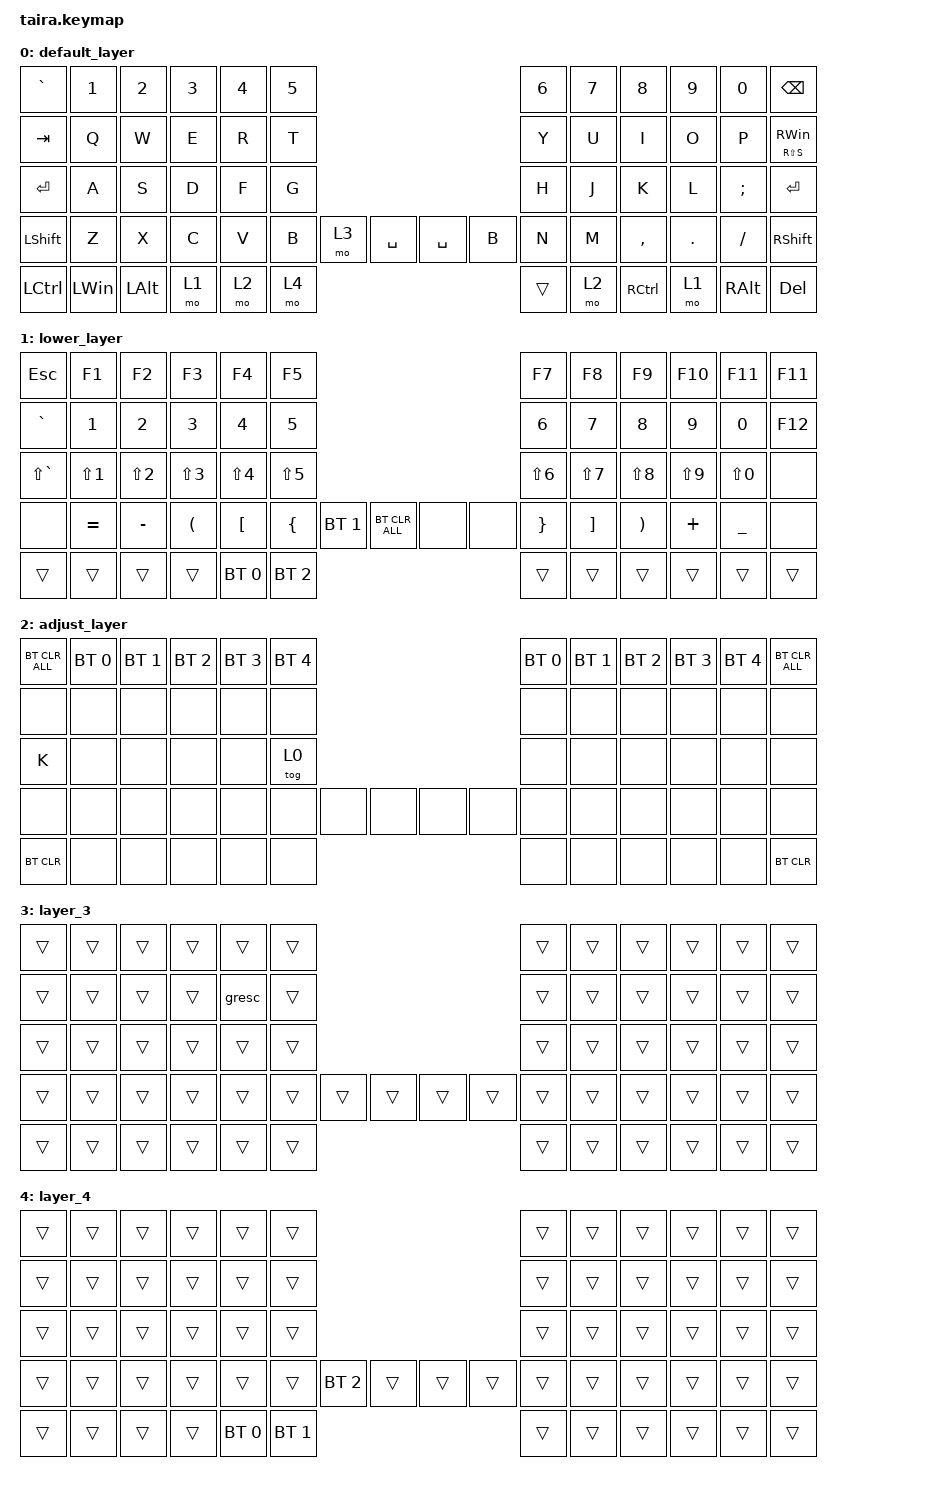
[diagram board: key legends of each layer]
/*
 * Copyright (c) 2020 The ZMK Contributors
 *
 * SPDX-License-Identifier: MIT
 */

#include <behaviors.dtsi>
#include <dt-bindings/zmk/bt.h>
#include <dt-bindings/zmk/keys.h>

#define DEFAULT 0
#define LOWER   1
#define RAISE   2
#define ADJUST  3
#define HYPER   4
#define GAME    5

/ {
    conditional_layers {
        compatible = "zmk,conditional-layers";

        tri_layer {
            if-layers = <1 2>;
            then-layer = <2>;
        };
    };

    keymap {
        compatible = "zmk,keymap";

        default_layer {
            /* QWERTY
 * .----------------------------------------------------------------------------------------------------------------------------------.
 * |  `   |   1  |   2  |   3  |   4  |   5  |                                              |   6  |   7  |   8  |   9  |   0  | PScr |
 * |-------------+------+------+------+------+------+------+-------+-+-------+-------+------+------+------+------+------+------+------|
 * | ESC  |   Q  |   W  |   E  |   R  |   T  |                                              |   Y  |   U  |   I  |   O  |   P  |  \   |
 * |-------------+------+------+------+------+------+------+-------+-+-------+-------+------+------+------+------+------+------+------|
 * | Tab  |   A  |   S  |   D  |   F  |   G  |                                              |   H  |   J  |   K  |   L  |   ;  |  '   |
 * |-------------+------+------+------+------+------+------+-------+-+-------+-------+------+------+------+------+------+------+------|
 * | Shift|   Z  |   X  |   C  |   V  |   B  |      | Del  | PGDN  | | PGUP  | Home  |      |   N  |   M  |   ,  |   .  |   /  | Shift|
 * |-------------+------+------+------+------+------+------+-------+-+-------+-------+------+------+------+------+------+------+------|
 * | Ctrl | Alt  | Meta | Alt  |             | Meta | Space|        | Enter | RAlt |             | LEFT | DOWN | UP   | RIGHT|
 * .----------------------------------------------------------------------------------------------------------------------------------.
 */

            bindings = <
&kp GRAVE  &kp N1        &kp N2    &kp N3  &kp N4  &kp N5                                                     &kp N6  &kp N7  &kp N8     &kp N9   &kp N0     &kp BACKSPACE
&kp TAB    &kp Q         &kp W     &kp E   &kp R   &kp T                                                      &kp Y   &kp U   &kp I      &kp O    &kp P      &mt RS(S) RIGHT_WIN
&kp ENTER  &kp A         &kp S     &kp D   &kp F   &kp G                                                      &kp H   &kp J   &kp K      &kp L    &kp SEMI   &kp ENTER
&kp LSHFT  &kp Z         &kp X     &kp C   &kp V   &kp B          &mo 3  &kp SPACE  &kp SPACE  &kp B          &kp N   &kp M   &kp COMMA  &kp DOT  &kp SLASH  &kp RIGHT_SHIFT
&kp LCTRL  &kp LEFT_WIN  &kp LALT  &mo 1                   &mo 2  &mo 4                        &trans  &mo 2                  &kp RCTRL  &mo 1    &kp RALT   &kp DELETE
            >;
        };

        lower_layer {
            /* QWERTY
 * .----------------------------------------------------------------------------------------------------------------------------------.
 * |  `   |   1  |   2  |   3  |   4  |   5  |                                              |   6  |   7  |   8  |   9  |   0  | PScr |
 * |-------------+------+------+------+------+------+------+-------+-+-------+-------+------+------+------+------+------+------+------|
 * | ESC  |   Q  |   W  |   E  |   R  |   T  |                                              |   Y  |   U  |   I  |   O  |   P  |  \   |
 * |-------------+------+------+------+------+------+------+-------+-+-------+-------+------+------+------+------+------+------+------|
 * | Tab  |   A  |   S  |   D  |   F  |   G  |                                              |   H  |   J  |   K  |   L  |   ;  |  '   |
 * |-------------+------+------+------+------+------+------+-------+-+-------+-------+------+------+------+------+------+------+------|
 * | Shift|   Z  |   X  |   C  |   V  |   B  |      | Del  | PGDN  | | PGUP  | Home  |      |   N  |   M  |   ,  |   .  |   /  | Shift|
 * |-------------+------+------+------+------+------+------+-------+-+-------+-------+------+------+------+------+------+------+------|
 * | Ctrl | Alt  | Meta | Alt  |             | Meta | Space|        | Enter | RAlt |             | LEFT | DOWN | UP   | RIGHT|
 * .----------------------------------------------------------------------------------------------------------------------------------.
 */

            bindings = <
&kp ESCAPE     &kp F1      &kp F2      &kp F3      &kp F4      &kp F5                                                                         &kp F7      &kp F8      &kp F9      &kp F10     &kp F11     &kp F11
&kp GRAVE      &kp N1      &kp N2      &kp N3      &kp N4      &kp N5                                                                         &kp N6      &kp N7      &kp N8      &kp N9      &kp N0      &kp F12
&kp LS(GRAVE)  &kp LS(N1)  &kp LS(N2)  &kp LS(N3)  &kp LS(N4)  &kp LS(N5)                                                                     &kp LS(N6)  &kp LS(N7)  &kp LS(N8)  &kp LS(N9)  &kp LS(N0)  &none
&none          &kp EQUAL   &kp MINUS   &kp LPAR    &kp LBKT    &kp LBRC                  &bt BT_SEL 1  &bt BT_CLR_ALL  &none  &none           &kp RBRC    &kp RBKT    &kp RPAR    &kp PLUS    &kp UNDER   &none
&trans         &trans      &trans      &trans                              &bt BT_SEL 0  &bt BT_SEL 2                         &trans  &trans                          &trans      &trans      &trans      &trans
            >;
        };

        adjust_layer {
            /* QWERTY
 * .----------------------------------------------------------------------------------------------------------------------------------.
 * |  `   |   1  |   2  |   3  |   4  |   5  |                                              |   6  |   7  |   8  |   9  |   0  | PScr |
 * |-------------+------+------+------+------+------+------+-------+-+-------+-------+------+------+------+------+------+------+------|
 * | ESC  |   Q  |   W  |   E  |   R  |   T  |                                              |   Y  |   U  |   I  |   O  |   P  |  \   |
 * |-------------+------+------+------+------+------+------+-------+-+-------+-------+------+------+------+------+------+------+------|
 * | Tab  |   A  |   S  |   D  |   F  |   G  |                                              |   H  |   J  |   K  |   L  |   ;  |  '   |
 * |-------------+------+------+------+------+------+------+-------+-+-------+-------+------+------+------+------+------+------+------|
 * | Shift|   Z  |   X  |   C  |   V  |   B  |      | Del  | PGDN  | | PGUP  | Home  |      |   N  |   M  |   ,  |   .  |   /  | Shift|
 * |-------------+------+------+------+------+------+------+-------+-+-------+-------+------+------+------+------+------+------+------|
 * | Ctrl | Alt  | Meta | Alt  |             | Meta | Space|        | Enter | RAlt |             | LEFT | DOWN | UP   | RIGHT|
 * .----------------------------------------------------------------------------------------------------------------------------------.
 */

            bindings = <
&bt BT_CLR_ALL  &bt BT_SEL 0  &bt BT_SEL 1  &bt BT_SEL 2  &bt BT_SEL 3  &bt BT_SEL 4                                            &bt BT_SEL 0  &bt BT_SEL 1  &bt BT_SEL 2  &bt BT_SEL 3  &bt BT_SEL 4  &bt BT_CLR_ALL
&none           &none         &none         &none         &none         &none                                                   &none         &none         &none         &none         &none         &none
&kp K           &none         &none         &none         &none         &tog 0                                                  &none         &none         &none         &none         &none         &none
&none           &none         &none         &none         &none         &none                &none  &none  &none  &none         &none         &none         &none         &none         &none         &none
&bt BT_CLR      &none         &none         &none                                     &none  &none                &none  &none                              &none         &none         &none         &bt BT_CLR
            >;
        };

        layer_3 {
            bindings = <
&trans  &trans  &trans  &trans  &trans  &trans                                                  &trans  &trans  &trans  &trans  &trans  &trans
&trans  &trans  &trans  &trans  &gresc  &trans                                                  &trans  &trans  &trans  &trans  &trans  &trans
&trans  &trans  &trans  &trans  &trans  &trans                                                  &trans  &trans  &trans  &trans  &trans  &trans
&trans  &trans  &trans  &trans  &trans  &trans          &trans  &trans  &trans  &trans          &trans  &trans  &trans  &trans  &trans  &trans
&trans  &trans  &trans  &trans                  &trans  &trans                  &trans  &trans                  &trans  &trans  &trans  &trans
            >;
        };

        layer_4 {
            bindings = <
&trans  &trans  &trans  &trans  &trans  &trans                                                              &trans  &trans  &trans  &trans  &trans  &trans
&trans  &trans  &trans  &trans  &trans  &trans                                                              &trans  &trans  &trans  &trans  &trans  &trans
&trans  &trans  &trans  &trans  &trans  &trans                                                              &trans  &trans  &trans  &trans  &trans  &trans
&trans  &trans  &trans  &trans  &trans  &trans                &bt BT_SEL 2  &trans  &trans  &trans          &trans  &trans  &trans  &trans  &trans  &trans
&trans  &trans  &trans  &trans                  &bt BT_SEL 0  &bt BT_SEL 1                  &trans  &trans                  &trans  &trans  &trans  &trans
            >;
        };
    };
};
